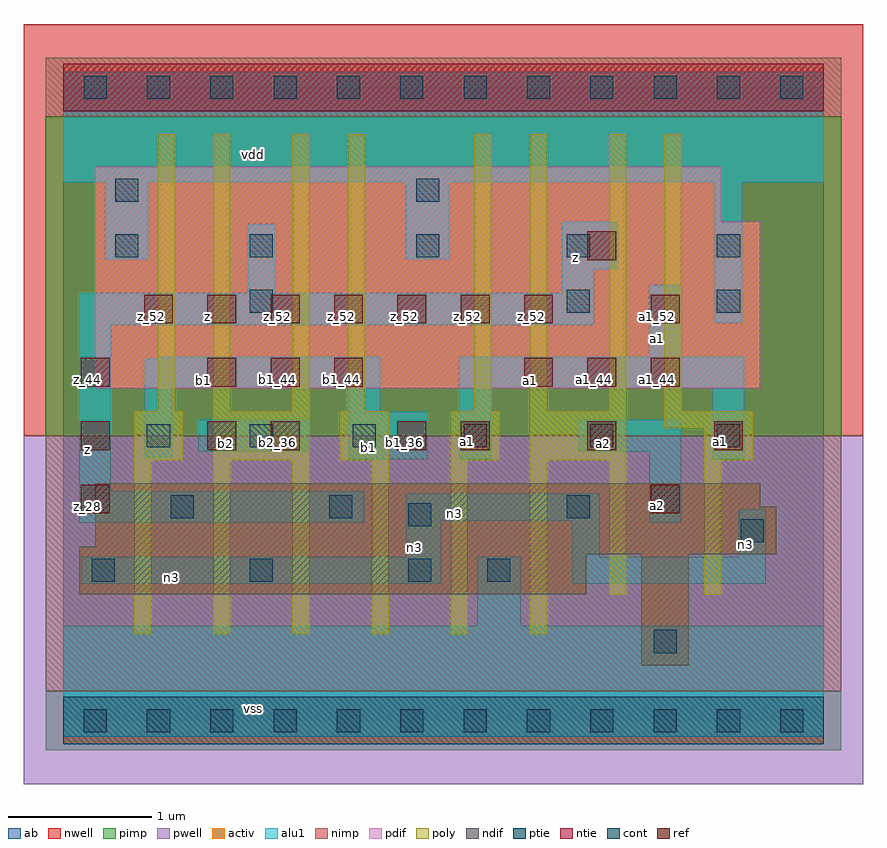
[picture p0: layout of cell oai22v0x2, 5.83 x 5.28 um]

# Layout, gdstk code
import gdstk
lib = gdstk.Library(unit=1e-6, precision=2.5e-09)
def R(c, l, rs):  # rectangles x0, y0, x1, y1
    for r in rs: c.add(gdstk.rectangle(r[:2], r[2:], *l))
def A(c, l, x, y, w, h, nx, ny, dx, dy):  # array of equal rectangles
    R(c, l, [(x+i*dx, y+j*dy, x+i*dx+w, y+j*dy+h) for i in range(nx) for j in range(ny)])
ndif = (3, 0)
pdif = (4, 0)
ntie = (5, 0)
ptie = (6, 0)
ref = (24, 0)
cont = (25, 0)
pwell = (41, 0)
nwell = (42, 0)
activ = (43, 0)
pimp = (44, 0)
nimp = (45, 0)
poly = (46, 0)
alu1 = (49, 0)
ab = (63, 0)

oai22v0x2 = lib.new_cell('oai22v0x2')
R(oai22v0x2, ndif, [(4.015,0.385,4.345,1.155), (0.11,0.88,3.63,1.155), (0.11,1.155,4.95,1.21), (0.22,1.21,4.95,1.485), (0.22,1.485,4.84,1.65)])
R(oai22v0x2, pdif, [(0.22,2.31,4.84,3.465), (0.22,3.465,4.565,3.85)])
R(oai22v0x2, ntie, [(0,4.235,5.28,4.565)])
R(oai22v0x2, ptie, [(0,-0.165,5.28,0.165)])
A(oai22v0x2, ref, 0.12, 1.44, 0.2, 0.2, 1, 3, 0, 0.44)
A(oai22v0x2, ref, 2.76, 1.88, 0.2, 0.2, 3, 1, 0.88, 0)
A(oai22v0x2, ref, 1, 2.32, 0.2, 0.2, 3, 1, 0.44, 0)
A(oai22v0x2, ref, 3.2, 2.32, 0.2, 0.2, 3, 1, 0.44, 0)
A(oai22v0x2, ref, 0.56, 2.76, 0.2, 0.2, 7, 1, 0.44, 0)
R(oai22v0x2, ref, [(4.08,1.44,4.28,1.64), (1,1.88,1.2,2.08), (1.44,1.88,1.64,2.08), (2.32,1.88,2.52,2.08), (4.08,2.76,4.28,2.96), (3.64,3.2,3.84,3.4)])
A(oai22v0x2, cont, 0.14, -0.08, 0.16, 0.16, 12, 2, 0.44, 4.4)
A(oai22v0x2, cont, 0.195, 0.965, 0.16, 0.16, 3, 1, 1.1, 0)
A(oai22v0x2, cont, 0.58, 1.9, 0.16, 0.16, 3, 1, 0.715, 0)
A(oai22v0x2, cont, 2.78, 1.9, 0.16, 0.16, 3, 1, 0.88, 0)
A(oai22v0x2, cont, 2.45, 3.22, 0.16, 0.16, 3, 1, 1.045, 0)
R(oai22v0x2, cont, [(4.1,0.47,4.26,0.63), (2.945,0.965,3.105,1.125), (4.705,1.24,4.865,1.4), (2.395,1.35,2.555,1.51), (0.745,1.405,0.905,1.565), (1.845,1.405,2.005,1.565), (3.495,1.405,3.655,1.565), (1.295,2.835,1.455,2.995), (3.495,2.835,3.655,2.995), (4.54,2.835,4.7,2.995), (0.36,3.22,0.52,3.38), (1.295,3.22,1.455,3.38), (0.36,3.605,0.52,3.765), (2.45,3.605,2.61,3.765)])
R(oai22v0x2, pwell, [(-0.275,-0.44,5.555,1.98)])
R(oai22v0x2, nwell, [(-0.275,1.98,5.555,4.84)])
R(oai22v0x2, activ, [(0,-0.165,5.28,0.165), (4.015,0.385,4.345,1.155), (0.11,0.88,3.63,1.155), (0.11,1.155,4.95,1.21), (0.22,1.21,4.95,1.485), (0.22,1.485,4.84,1.65), (0.22,2.31,4.84,3.465), (0.22,3.465,4.565,3.85), (0,4.235,5.28,4.565)])
R(oai22v0x2, pimp, [(-0.125,-0.205,5.405,0.205), (-0.125,1.98,5.405,4.195)])
R(oai22v0x2, nimp, [(-0.125,0.205,5.405,1.98), (-0.125,4.195,5.405,4.605)])
A(oai22v0x2, poly, 0.49, 0.6, 0.12, 1.21, 6, 1, 0.55, 0)
R(oai22v0x2, poly, [(3.79,0.875,3.91,1.81), (4.45,0.875,4.57,1.81), (0.49,1.81,0.83,2.15), (1.04,1.81,1.71,2.15), (1.92,1.81,2.26,2.15), (2.69,1.81,3.03,2.15), (3.24,1.81,3.91,2.15), (4.45,1.81,4.79,2.03), (4.175,2.03,4.79,2.15), (0.655,2.15,0.775,4.075), (1.04,2.15,1.16,4.075), (1.59,2.15,1.71,4.075), (1.975,2.15,2.095,4.075), (2.855,2.15,2.975,4.075), (3.24,2.15,3.36,4.075), (3.79,2.15,3.91,4.075), (4.175,2.15,4.295,4.075)])
R(oai22v0x2, alu1, [(0,-0.11,5.28,0.66), (2.875,0.66,3.175,1.14), (0.125,0.95,2.625,1.14), (3.535,0.95,4.88,1.14), (2.38,1.14,2.625,1.39), (3.535,1.14,3.725,1.39), (4.69,1.14,4.88,1.47), (0.11,1.375,2.09,1.595), (4.07,1.375,4.29,1.87), (2.38,1.39,3.725,1.58), (0.11,1.595,0.33,2.75), (1.98,1.815,2.53,2.145), (2.75,1.815,2.97,2.31), (4.51,1.815,4.73,2.31), (0.565,1.83,0.755,2.31), (0.935,1.87,1.705,2.09), (3.575,1.87,4.29,2.09), (1.98,2.145,2.2,2.31), (0.565,2.31,2.2,2.515), (2.75,2.31,4.73,2.53), (0.66,2.515,2.2,2.53), (4.07,2.53,4.29,3.025), (0.11,2.75,3.685,2.97), (4.525,2.765,4.715,3.74), (1.28,2.97,1.47,3.45), (3.465,2.97,3.685,3.135), (3.465,3.135,3.85,3.465), (0.29,3.205,0.59,3.74), (2.38,3.205,2.68,3.74), (0,3.74,5.28,4.51)])
R(oai22v0x2, ab, [(0,0,5.28,4.4)])
oai22v0x2.add(gdstk.Label('vss', (1.32,0.0825), layer=49, texttype=0))
oai22v0x2.add(gdstk.Label('n3', (0.75,0.9975), layer=49, texttype=0))
oai22v0x2.add(gdstk.Label('n3', (4.7375,1.2225), layer=49, texttype=0))
oai22v0x2.add(gdstk.Label('a1', (4.565,1.9375), layer=49, texttype=0))
oai22v0x2.add(gdstk.Label('a2', (4.125,1.4975), layer=49, texttype=0))
oai22v0x2.add(gdstk.Label('n3', (2.44,1.2025), layer=49, texttype=0))
oai22v0x2.add(gdstk.Label('n3', (2.715,1.4375), layer=49, texttype=0))
oai22v0x2.add(gdstk.Label('a2', (3.7525,1.925), layer=49, texttype=0))
oai22v0x2.add(gdstk.Label('a1', (2.805,1.9375), layer=49, texttype=0))
oai22v0x2.add(gdstk.Label('b1', (2.1175,1.8975), layer=49, texttype=0))
oai22v0x2.add(gdstk.Label('b2', (1.1275,1.925), layer=49, texttype=0))
oai22v0x2.add(gdstk.Label('a1', (3.245,2.365), layer=49, texttype=0))
oai22v0x2.add(gdstk.Label('b1', (0.9725,2.36), layer=49, texttype=0))
oai22v0x2.add(gdstk.Label('a1', (4.125,2.6525), layer=49, texttype=0))
oai22v0x2.add(gdstk.Label('z', (0.165,1.8825), layer=49, texttype=0))
oai22v0x2.add(gdstk.Label('z', (1.0025,2.805), layer=49, texttype=0))
oai22v0x2.add(gdstk.Label('z', (3.56,3.2175), layer=49, texttype=0))
oai22v0x2.add(gdstk.Label('vdd', (1.32,3.9325), layer=49, texttype=0))
oai22v0x2.add(gdstk.Label('z_52', (0.61,2.81), layer=24, texttype=0))
oai22v0x2.add(gdstk.Label('b2_36', (1.05,1.93), layer=24, texttype=0))
oai22v0x2.add(gdstk.Label('b1_44', (1.05,2.37), layer=24, texttype=0))
oai22v0x2.add(gdstk.Label('z_52', (1.05,2.81), layer=24, texttype=0))
oai22v0x2.add(gdstk.Label('b2_36', (1.49,1.93), layer=24, texttype=0))
oai22v0x2.add(gdstk.Label('b1_44', (1.49,2.37), layer=24, texttype=0))
oai22v0x2.add(gdstk.Label('z_52', (1.49,2.81), layer=24, texttype=0))
oai22v0x2.add(gdstk.Label('b1_44', (1.93,2.37), layer=24, texttype=0))
oai22v0x2.add(gdstk.Label('z_52', (1.93,2.81), layer=24, texttype=0))
oai22v0x2.add(gdstk.Label('z_28', (0.17,1.49), layer=24, texttype=0))
oai22v0x2.add(gdstk.Label('z_36', (0.17,1.93), layer=24, texttype=0))
oai22v0x2.add(gdstk.Label('z_44', (0.17,2.37), layer=24, texttype=0))
oai22v0x2.add(gdstk.Label('b1_36', (2.37,1.93), layer=24, texttype=0))
oai22v0x2.add(gdstk.Label('z_52', (2.37,2.81), layer=24, texttype=0))
oai22v0x2.add(gdstk.Label('a1_36', (2.81,1.93), layer=24, texttype=0))
oai22v0x2.add(gdstk.Label('z_52', (2.81,2.81), layer=24, texttype=0))
oai22v0x2.add(gdstk.Label('a1_44', (3.25,2.37), layer=24, texttype=0))
oai22v0x2.add(gdstk.Label('z_52', (3.25,2.81), layer=24, texttype=0))
oai22v0x2.add(gdstk.Label('a2_36', (3.69,1.93), layer=24, texttype=0))
oai22v0x2.add(gdstk.Label('a1_44', (3.69,2.37), layer=24, texttype=0))
oai22v0x2.add(gdstk.Label('z_60', (3.69,3.25), layer=24, texttype=0))
oai22v0x2.add(gdstk.Label('a2_28', (4.13,1.49), layer=24, texttype=0))
oai22v0x2.add(gdstk.Label('a1_44', (4.13,2.37), layer=24, texttype=0))
oai22v0x2.add(gdstk.Label('a1_52', (4.13,2.81), layer=24, texttype=0))
oai22v0x2.add(gdstk.Label('a1_36', (4.57,1.93), layer=24, texttype=0))

lib.write_gds('oai22v0x2.gds')
